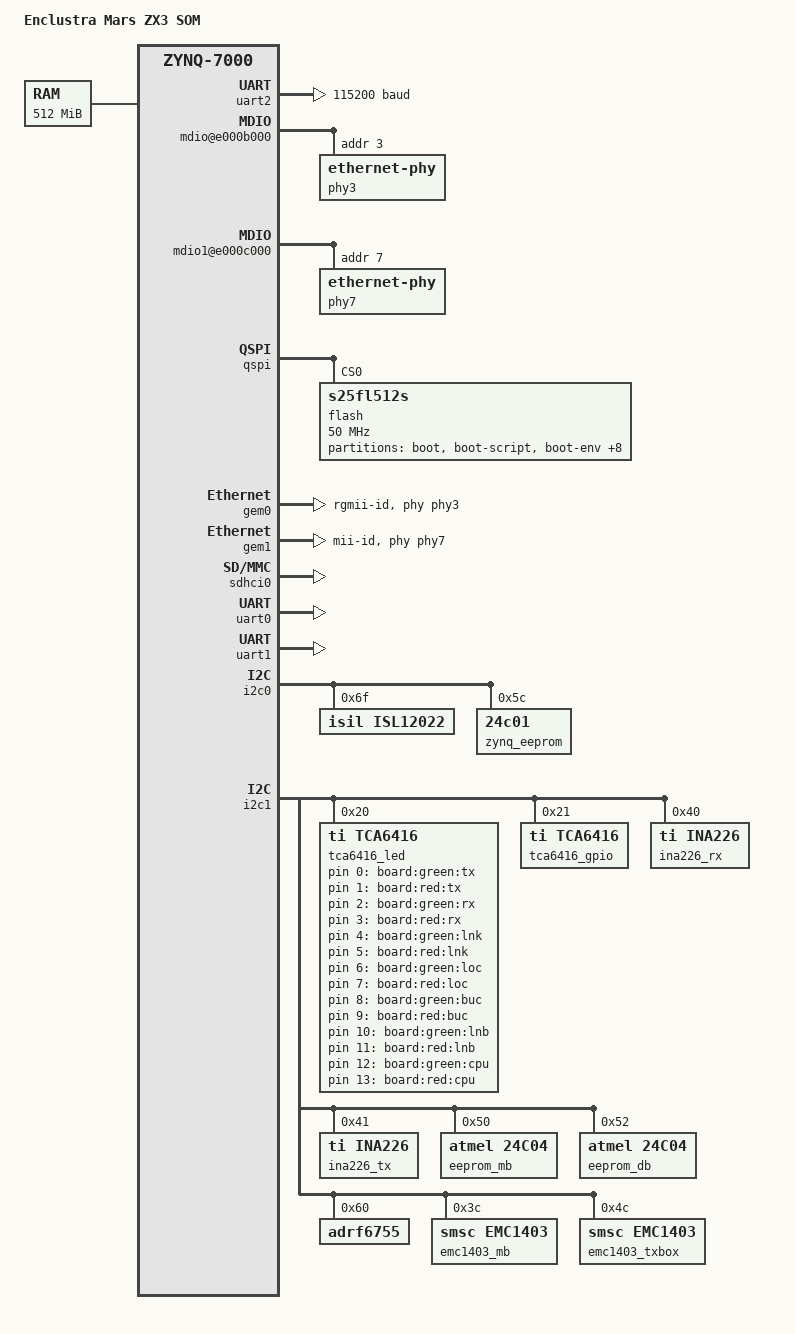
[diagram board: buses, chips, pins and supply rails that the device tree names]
/dts-v1/;
/include/ "zynq-7000.dtsi"

/ {
  model = "Enclustra Mars ZX3 SOM";
  aliases {
    ethernet0 = &gem0;
    ethernet1 = &gem1;
    mmc0 = &sdhci0;
    serial0 = &uart0;
    serial1 = &uart1;
    serial2 = &uart2;
    spi0 = &qspi;
    gpio0 = &gpio0;
    gpio1 = &tca6416_led;
    gpio2 = &tca6416_gpio;
    i2c0 = &i2c0;
    i2c1 = &i2c1;
  };
  chosen {
    stdout-path = &uart1;
  };
  amba: amba {
    uart2: serial@43c10000 {
      clock-frequency = <100000000>;
      clock-names = "s_axi_aclk";
      clocks = <&clkc 15>;
      compatible = "xlnx,xps-uart16550", "ns16550a";
      status = "disabled";
      current-speed = <115200>;
      interrupt-names = "ip2intc_irpt";
      interrupt-parent = <&intc>;
      interrupts = <0 33 4>;
      port-number = <0>;
      reg = <0x43c10000 0x10000>;
      reg-offset = <0x1000>;
      reg-shift = <2>;
      xlnx,external-xin-clk-hz = <0x17d7840>;
      xlnx,external-xin-clk-hz-d = <0x19>;
      xlnx,has-external-rclk = <0x0>;
      xlnx,has-external-xin = <0x0>;
      xlnx,is-a-16550 = <0x1>;
      xlnx,s-axi-aclk-freq-hz-d = "100.0";
      xlnx,use-modem-ports = <0x1>;
      xlnx,use-user-ports = <0x1>;
    };
  };
  memory@0 {
    device_type = "memory";
    reg = <0x0 0x20000000>;
  };
  mdio@e000b000 {
    compatible = "cdns,macb-mdio";
    reg = <0xe000b000 0x1000>;
    clocks = <&clkc 30>, <&clkc 30>, <&clkc 13>;
    clock-names = "pclk", "hclk", "tx_clk";
    #address-cells = <1>;
    #size-cells = <0>;
    phy3: ethernet-phy@3 {
      reg = <3>;
    };
  };
  mdio1@e000c000 {
    compatible = "cdns,macb-mdio";
    reg = <0xe000c000 0x1000>;
    clocks = <&clkc 31>, <&clkc 31>;
    clock-names = "pclk", "hclk";
    #address-cells = <1>;
    #size-cells = <0>;
    phy7: ethernet-phy@7 {
      reg = <7>;
    };
  };
  fpga_reg_fft@44000000 {
    compatible = "generic-uio";
    reg = <0x44000000 0x1000>;
    interrupt-parent = <0x4>;
    interrupts = <0x0 0x1d 0x1>;
  };
  fpga_reg_data@44000000 {
    compatible = "generic-uio";
    reg = <0x44000000 0x1000>;
    interrupt-parent = <0x4>;
    interrupts = <0x0 0x1e 0x1>;
  };
  gpio-leds {
    compatible = "gpio-leds";
    led0 {
      label = "board:green:tx";
      gpios = <&tca6416_led 0 0>;
      default-state = "off";
    };
    led1 {
      label = "board:red:tx";
      gpios = <&tca6416_led 1 0>;
      default-state = "off";
    };
    led2 {
      label = "board:green:rx";
      gpios = <&tca6416_led 2 0>;
      default-state = "off";
    };
    led3 {
      label = "board:red:rx";
      gpios = <&tca6416_led 3 0>;
      default-state = "off";
    };
    led4 {
      label = "board:green:lnk";
      gpios = <&tca6416_led 4 0>;
      default-state = "off";
    };
    led5 {
      label = "board:red:lnk";
      gpios = <&tca6416_led 5 0>;
      default-state = "off";
    };
    led6 {
      label = "board:green:loc";
      gpios = <&tca6416_led 6 0>;
      default-state = "off";
    };
    led7 {
      label = "board:red:loc";
      gpios = <&tca6416_led 7 0>;
      default-state = "off";
    };
    led8 {
      label = "board:green:buc";
      gpios = <&tca6416_led 8 0>;
      default-state = "off";
    };
    led9 {
      label = "board:red:buc";
      gpios = <&tca6416_led 9 0>;
      default-state = "off";
    };
    led10 {
      label = "board:green:lnb";
      gpios = <&tca6416_led 10 0>;
      default-state = "off";
    };
    led11 {
      label = "board:red:lnb";
      gpios = <&tca6416_led 11 0>;
      default-state = "off";
    };
    led12 {
      label = "board:green:cpu";
      gpios = <&tca6416_led 12 0>;
      default-state = "off";
    };
    led13 {
      label = "board:red:cpu";
      gpios = <&tca6416_led 13 0>;
      default-state = "off";
    };
  };
};
&qspi {
  status = "okay";
  is-dual = <0>;
  num-cs = <1>;
  flash@0 {
    compatible = "s25fl512s";
    reg = <0x0>;
    spi-tx-bus-width = <1>;
    spi-rx-bus-width = <4>;
    spi-max-frequency = <50000000>;
    #address-cells = <1>;
    #size-cells = <1>;
    partition@0 {
      label = "boot";
      reg = <0x0 0x500000>;
      read-only;
    };
    partition@500000 {
      label = "boot-script";
      reg = <0x500000 0x40000>;
      read-only;
    };
    partition@540000 {
      label = "boot-env";
      reg = <0x540000 0xC0000>;
    };
    partition@600000 {
      label = "kernel-a";
      reg = <0x600000 0xF80000>;
    };
    partition@A40000 {
      label = "devicetree-a";
      reg = <0xA40000 0x40000>;
    };
    partition@A80000 {
      label = "rootfs-a";
      reg = <0xA80000 0xB00000>;
    };
    partition@1580000 {
      label = "kernel-b";
      reg = <0x1580000 0xF80000>;
    };
    partition@19C0000 {
      label = "devicetree-b";
      reg = <0x19C0000 0x40000>;
    };
    partition@1A00000 {
      label = "rootfs-b";
      reg = <0x1A00000 0xB00000>;
    };
    partition@2500000 {
      label = "rootfs-data";
      reg = <0x2500000 0x140000>;
    };
    partition@2640000 {
      label = "appfs";
      reg = <0x2640000 0x19C0000>;
    };
  };
};
&gem0 {
  status = "okay";
  phy-mode = "rgmii-id";
  phy-handle = <&phy3>;
};
&gem1 {
  status = "okay";
  phy-mode = "mii-id";
  phy-handle = <&phy7>;
  xlnx,emio = <1>;
};
&sdhci0 {
  status = "okay";
  broken-cd = <0x1>;
  wp-inverted = <0x1>;
};
&uart0 {
  status = "okay";
};
&uart1 {
  status = "okay";
};
&uart2 {
  status = "okay";
};
&i2c0 {
  status = "okay";
  isl12022: isl12022@68 {
    status = "okay";
    compatible = "isil,isl12022";
    reg = <0x6f>;
  };
  zynq_eeprom: eeprom@5c {
    compatible = "24c01"; // Maxim DS28CN01
    reg = <0x5c>;
    read-only;
  };
};
&i2c1 {
  status = "okay";
  tca6416_led: gpio@20 {
    compatible = "ti,tca6416";
    reg = <0x20>;
    gpio-controller;
    #gpio-cells = <2>;
    P0 {
      gpio-hog;
      gpios = <0 0>;
      output-low;
      line-name = "DEBUG-P0";
    };
    P1 {
      gpio-hog;
      gpios = <1 0>;
      output-low;
      line-name = "DEBUG-P1";
    };
    P2 {
      gpio-hog;
      gpios = <2 0>;
      output-low;
      line-name = "DX232_2";
    };
    P3 {
      gpio-hog;
      gpios = <3 0>;
      output-low;
      line-name = "RX232_2n";
    };
    P4 {
      gpio-hog;
      gpios = <4 0>;
      output-low;
      line-name = "TX_ATTn";
    };
    P5 {
      gpio-hog;
      gpios = <5 0>;
      output-low;
      line-name = "RS232Main_ENn";
    };
    P6 {
      gpio-hog;
      gpios = <6 0>;
      output-low;
      line-name = "RS485_HDPLX";
    };
    P7 {
      gpio-hog;
      gpios = <7 0>;
      output-low;
      line-name = "RS485_TERM_EN";
    };
    P10 {
      gpio-hog;
      gpios = <8 0>;
      output-low;
      line-name = "RX485_2n";
    };
    P11 {
      gpio-hog;
      gpios = <9 0>;
      output-low;
      line-name = "DX485_2";
    };
    P12 {
      gpio-hog;
      gpios = <10 0>;
      output-low;
      line-name = "RX485_1n";
    };
    P13 {
      gpio-hog;
      gpios = <11 0>;
      output-low;
      line-name = "DX485_1";
    };
    P14 {
      gpio-hog;
      gpios = <12 0>;
      output-low;
      line-name = "DX232_1";
    };
    P15 {
      gpio-hog;
      gpios = <13 0>;
      output-low;
      line-name = "RX232_1n";
    };
    P16 {
      gpio-hog;
      gpios = <14 0>;
      output-low;
      line-name = "LNB_10M_OFF";
    };
    /* RESET PIN
    P17 {
      gpio-hog;
      gpios = <15 0>;
      output-low;
      line-name = "RS232Main_ENn-P4";
    };*/
  };
  tca6416_gpio: gpio@21 {
    compatible = "ti,tca6416";
    reg = <0x21>;
    gpio-controller;
    #gpio-cells = <2>;
  };
  ina226_rx: ina226rx@40 {
    compatible = "ti,ina226";
    reg = <0x40>;
    shunt-resistor = <40000>;
  };
  ina226_tx: ina226tx@41 {
    compatible = "ti,ina226";
    reg = <0x41>;
    shunt-resistor = <10000>;
  };
  eeprom_mb: eeprom@50 {
    compatible = "atmel,24c04";
    reg = <0x50>;
  };
  eeprom_db: eeprom@52 {
    compatible = "atmel,24c04";
    reg = <0x52>;
  };
  adrf6755: adrf6755@60 {
    status = "okay";
    compatible = "adrf6755";
    reg = <0x60>;
    ref_frequency_KHz = <0x2710>;
    pfd_frequency_KHz = <0x4e20>;
  };
/* For Bastien:  
  tps65233: tps65233@61 {
    status = "okay";
    compatible = "adrf6755";
  };
*/
  emc1403_mb: emc1403@4c {
    compatible = "smsc,emc1403";
    reg = <0x3c>;
  };
  emc1403_txbox: emc1403@4c {
    compatible = "smsc,emc1403";
    reg = <0x4c>;
  };
};
